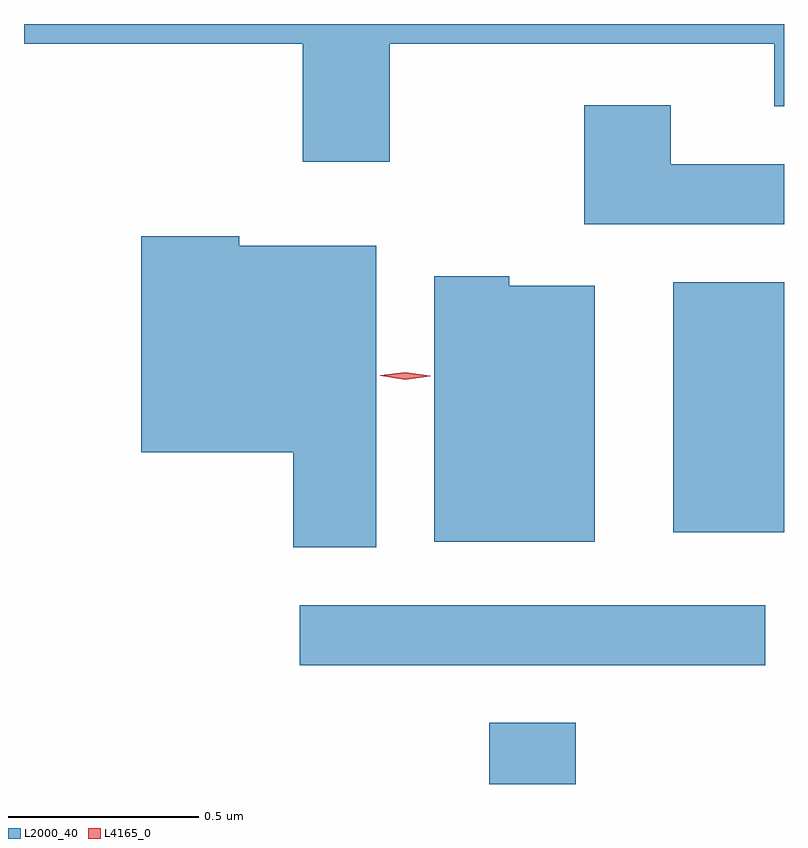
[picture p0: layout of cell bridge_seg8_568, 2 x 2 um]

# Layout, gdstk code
import gdstk
lib = gdstk.Library(unit=1e-6, precision=1e-09)
def R(c, l, rs):  # rectangles x0, y0, x1, y1
    for r in rs: c.add(gdstk.rectangle(r[:2], r[2:], *l))
def P(c, l, *ps):  # polygons
    for p in ps: c.add(gdstk.Polygon(p, *l))
L2000_40 = (2000, 40)
L4165_0 = (4165, 0)

bridge_seg8_568 = lib.new_cell('bridge_seg8_568')
R(bridge_seg8_568, L2000_40, [(416.721,1827.808,416.949,1827.969), (416.223,1828.121,417.448,1828.279), (417.206,1828.471,417.497,1829.129)])
P(bridge_seg8_568, L2000_40, [(415.497,1829.756),(416.231,1829.756),(416.231,1829.446),(416.459,1829.446),(416.459,1829.756),(417.471,1829.756),(417.471,1829.591),(417.497,1829.591),(417.497,1829.808),(415.497,1829.808)],
  [(417.497,1829.439),(417.199,1829.439),(417.199,1829.594),(416.971,1829.594),(416.971,1829.281),(417.497,1829.281)],
  [(416.424,1829.224),(416.064,1829.224),(416.064,1829.249),(415.806,1829.249),(415.806,1828.681),(416.206,1828.681),(416.206,1828.431),(416.424,1828.431)],
  [(416.999,1829.119),(416.774,1829.119),(416.774,1829.144),(416.576,1829.144),(416.576,1828.446),(416.999,1828.446)])
P(bridge_seg8_568, L4165_0, [(416.5,1828.872),(416.434,1828.882),(416.434,1828.883),(416.434,1828.884),(416.5,1828.892),(416.566,1828.882),(416.566,1828.882),(416.566,1828.881)])

lib.write_gds('bridge_seg8_568.gds')
